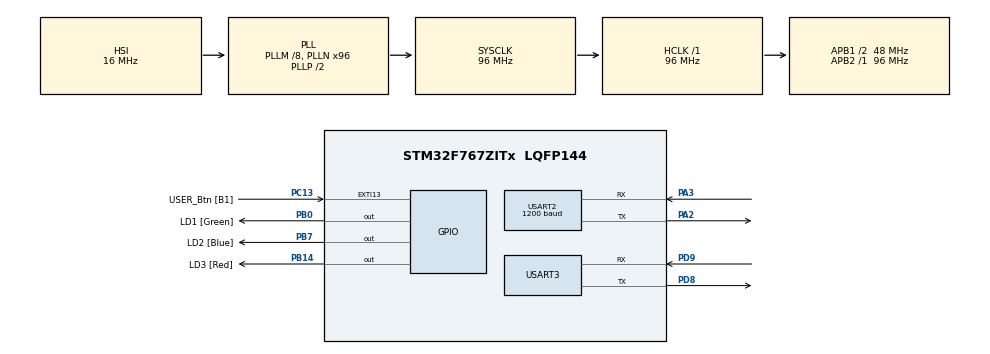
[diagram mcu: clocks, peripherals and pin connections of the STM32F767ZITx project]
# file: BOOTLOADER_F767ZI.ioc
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Mcu.Family=STM32F7
Mcu.Name=STM32F767ZITx
Mcu.Package=LQFP144
NVIC.PriorityGroup=NVIC_PRIORITYGROUP_4
NVIC.USART2_IRQn=true\:0\:0\:false\:false\:true\:true\:true\:true
NVIC.USART3_IRQn=true\:0\:0\:false\:false\:true\:true\:true\:true
PA2.Mode=Asynchronous
PA2.Signal=USART2_TX
PA3.Mode=Asynchronous
PA3.Signal=USART2_RX
PB0.GPIO_Label=LD1 [Green]
PB0.Signal=GPIO_Output
PB14.GPIO_Label=LD3 [Red]
PB14.Signal=GPIO_Output
PB7.GPIO_Label=LD2 [Blue]
PB7.Signal=GPIO_Output
PC13.GPIO_Label=USER_Btn [B1]
PC13.Signal=GPXTI13
PD8.Mode=Asynchronous
PD8.Signal=USART3_TX
PD9.Mode=Asynchronous
PD9.Signal=USART3_RX
ProjectManager.HeapSize=0x200
ProjectManager.StackSize=0x400
ProjectManager.TargetToolchain=STM32CubeIDE
RCC.48MHZClocksFreq_Value=24000000
RCC.AHBFreq_Value=96000000
RCC.APB1CLKDivider=RCC_HCLK_DIV2
RCC.APB1Freq_Value=48000000
RCC.APB1TimFreq_Value=96000000
RCC.APB2Freq_Value=96000000
RCC.APB2TimFreq_Value=96000000
RCC.CortexFreq_Value=96000000
RCC.HCLKFreq_Value=96000000
RCC.HSE_VALUE=8000000
RCC.HSI_VALUE=16000000
RCC.LSE_VALUE=32768
RCC.PLLM=8
RCC.PLLMUL=RCC_PLL_MUL9
RCC.PLLN=96
RCC.PLLQ=4
RCC.PRESCALERUSB=RCC_USBCLKSOURCE_PLL_DIV1_5
RCC.SYSCLKFreq_VALUE=96000000
RCC.SYSCLKSource=RCC_SYSCLKSOURCE_PLLCLK
RCC.SYSCLKSourceVirtual=RCC_SYSCLKSOURCE_PLLCLK
RCC.USBFreq_Value=48000000
RCC.VCOOutputFreq_Value=192000000
USART2.BaudRate=1200
USART2.VirtualMode-Asynchronous=VM_ASYNC
USART3.VirtualMode-Asynchronous=VM_ASYNC
board=NUCLEO-F767ZI

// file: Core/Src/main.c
/* USER CODE BEGIN Header */
/**
  ******************************************************************************
  * @file           : main.c
  * @brief          : Main program body
  ******************************************************************************
  * @attention
  *
  * Copyright (c) 2025 STMicroelectronics.
  * All rights reserved.
  *
  * This software is licensed under terms that can be found in the LICENSE file
  * in the root directory of this software component.
  * If no LICENSE file comes with this software, it is provided AS-IS.
  *
  ******************************************************************************
  */
/* USER CODE END Header */
#include "main.h"

/* USER CODE BEGIN Includes */
#include <string.h>

/* USER CODE END Includes */

UART_HandleTypeDef huart2;
UART_HandleTypeDef huart3;

/* USER CODE BEGIN PV */

uint8_t rx_byte;
char rx_buffer[128];
uint8_t rx_index = 0;

uint32_t Address = 0x080E0000;
uint32_t LED_State_Address = 0x080E0100;

volatile uint8_t rx_line_ready = 0;

char stored_sen[256];

/* USER CODE END PV */

void SystemClock_Config(void);
static void MX_GPIO_Init(void);
static void MX_USART2_UART_Init(void);
static void MX_USART3_UART_Init(void);
/* USER CODE BEGIN PFP */

int write(char *ptr);
static void goto_application(void);

void erase_flash(void);
void program_flash(uint8_t data, uint32_t address);
uint8_t read_flash(uint32_t address);

static void reset_bootloader(void);

/* USER CODE END PFP */

int main(void)
{

  /* MCU Configuration--------------------------------------------------------*/

  /* Reset of all peripherals, Initializes the Flash interface and the Systick. */
  HAL_Init();

  /* Configure the system clock */
  SystemClock_Config();

  /* Initialize all configured peripherals */
  MX_GPIO_Init();
  MX_USART2_UART_Init();
  MX_USART3_UART_Init();
  /* USER CODE BEGIN 2 */

  write("\nStarting bootloader");

  HAL_GPIO_WritePin(GPIOB, GPIO_PIN_0, GPIO_PIN_SET);

  HAL_UART_Receive_IT(&huart2, &rx_byte, 1);

  write("\nWaiting for data (5s)...\r\n");
  uint32_t t0 = HAL_GetTick();

  /* USER CODE END 2 */

  /* Infinite loop */
  /* USER CODE BEGIN WHILE */
  while (1)
  {

	if ((HAL_GetTick() - t0) < 5000 && !rx_line_ready) {
	  HAL_GPIO_WritePin(GPIOB, GPIO_PIN_14, GPIO_PIN_SET);

	}

	if((HAL_GetTick() - t0) >= 5000 && !rx_line_ready){
	  write("No message received!\r\n");
	  HAL_GPIO_WritePin(GPIOB, GPIO_PIN_14, GPIO_PIN_RESET);
	  HAL_GPIO_WritePin(GPIOB, GPIO_PIN_0, GPIO_PIN_RESET);
	  goto_application();

	}

	if((HAL_GetTick() - t0) < 5000 && rx_line_ready) {

	  HAL_GPIO_WritePin(GPIOB, GPIO_PIN_14, GPIO_PIN_RESET);
	  HAL_GPIO_WritePin(GPIOB, GPIO_PIN_0, GPIO_PIN_SET);
	  write("Data received. Writing to flash...\r\n");
	  HAL_Delay(1000);

	  uint8_t count = read_flash(LED_State_Address);
	  erase_flash();

	  program_flash(count, LED_State_Address);

	  for (size_t i=0; i<strlen(rx_buffer); i++) {
		  program_flash((uint8_t)rx_buffer[i], Address++);
	  }
	  program_flash(0x00, Address);

	  write("Flash write done.\r\n");

	  reset_bootloader();

	}

    /* USER CODE END WHILE */

  }
}

void SystemClock_Config(void)
{
  RCC_OscInitTypeDef RCC_OscInitStruct = {0};
  RCC_ClkInitTypeDef RCC_ClkInitStruct = {0};

  /** Configure the main internal regulator output voltage
  */
  __HAL_RCC_PWR_CLK_ENABLE();
  __HAL_PWR_VOLTAGESCALING_CONFIG(PWR_REGULATOR_VOLTAGE_SCALE3);

  /** Initializes the RCC Oscillators according to the specified parameters
  * in the RCC_OscInitTypeDef structure.
  */
  RCC_OscInitStruct.OscillatorType = RCC_OSCILLATORTYPE_HSI;
  RCC_OscInitStruct.HSIState = RCC_HSI_ON;
  RCC_OscInitStruct.HSICalibrationValue = RCC_HSICALIBRATION_DEFAULT;
  RCC_OscInitStruct.PLL.PLLState = RCC_PLL_ON;
  RCC_OscInitStruct.PLL.PLLSource = RCC_PLLSOURCE_HSI;
  RCC_OscInitStruct.PLL.PLLM = 8;
  RCC_OscInitStruct.PLL.PLLN = 96;
  RCC_OscInitStruct.PLL.PLLP = RCC_PLLP_DIV2;
  RCC_OscInitStruct.PLL.PLLQ = 4;
  RCC_OscInitStruct.PLL.PLLR = 2;
  if (HAL_RCC_OscConfig(&RCC_OscInitStruct) != HAL_OK)
  {
    Error_Handler();
  }

  /** Activate the Over-Drive mode
  */
  if (HAL_PWREx_EnableOverDrive() != HAL_OK)
  {
    Error_Handler();
  }

  /** Initializes the CPU, AHB and APB buses clocks
  */
  RCC_ClkInitStruct.ClockType = RCC_CLOCKTYPE_HCLK|RCC_CLOCKTYPE_SYSCLK
                              |RCC_CLOCKTYPE_PCLK1|RCC_CLOCKTYPE_PCLK2;
  RCC_ClkInitStruct.SYSCLKSource = RCC_SYSCLKSOURCE_PLLCLK;
  RCC_ClkInitStruct.AHBCLKDivider = RCC_SYSCLK_DIV1;
  RCC_ClkInitStruct.APB1CLKDivider = RCC_HCLK_DIV2;
  RCC_ClkInitStruct.APB2CLKDivider = RCC_HCLK_DIV1;

  if (HAL_RCC_ClockConfig(&RCC_ClkInitStruct, FLASH_LATENCY_3) != HAL_OK)
  {
    Error_Handler();
  }
}

static void MX_USART2_UART_Init(void)
{

  huart2.Instance = USART2;
  huart2.Init.BaudRate = 1200;
  huart2.Init.WordLength = UART_WORDLENGTH_8B;
  huart2.Init.StopBits = UART_STOPBITS_1;
  huart2.Init.Parity = UART_PARITY_NONE;
  huart2.Init.Mode = UART_MODE_TX_RX;
  huart2.Init.HwFlowCtl = UART_HWCONTROL_NONE;
  huart2.Init.OverSampling = UART_OVERSAMPLING_16;
  huart2.Init.OneBitSampling = UART_ONE_BIT_SAMPLE_DISABLE;
  huart2.AdvancedInit.AdvFeatureInit = UART_ADVFEATURE_NO_INIT;
  if (HAL_UART_Init(&huart2) != HAL_OK)
  {
    Error_Handler();
  }

}

static void MX_USART3_UART_Init(void)
{

  huart3.Instance = USART3;
  huart3.Init.BaudRate = 115200;
  huart3.Init.WordLength = UART_WORDLENGTH_8B;
  huart3.Init.StopBits = UART_STOPBITS_1;
  huart3.Init.Parity = UART_PARITY_NONE;
  huart3.Init.Mode = UART_MODE_TX_RX;
  huart3.Init.HwFlowCtl = UART_HWCONTROL_NONE;
  huart3.Init.OverSampling = UART_OVERSAMPLING_16;
  huart3.Init.OneBitSampling = UART_ONE_BIT_SAMPLE_DISABLE;
  huart3.AdvancedInit.AdvFeatureInit = UART_ADVFEATURE_NO_INIT;
  if (HAL_UART_Init(&huart3) != HAL_OK)
  {
    Error_Handler();
  }

}

static void MX_GPIO_Init(void)
{
  GPIO_InitTypeDef GPIO_InitStruct = {0};

  /* GPIO Ports Clock Enable */
  __HAL_RCC_GPIOC_CLK_ENABLE();
  __HAL_RCC_GPIOA_CLK_ENABLE();
  __HAL_RCC_GPIOB_CLK_ENABLE();
  __HAL_RCC_GPIOD_CLK_ENABLE();

  /*Configure GPIO pin Output Level */
  HAL_GPIO_WritePin(GPIOB, LD1_Pin|LD3_Pin|LD2_Pin, GPIO_PIN_RESET);

  /*Configure GPIO pin : USER_Btn_Pin */
  GPIO_InitStruct.Pin = USER_Btn_Pin;
  GPIO_InitStruct.Mode = GPIO_MODE_IT_RISING;
  GPIO_InitStruct.Pull = GPIO_NOPULL;
  HAL_GPIO_Init(USER_Btn_GPIO_Port, &GPIO_InitStruct);

  /*Configure GPIO pins : LD1_Pin LD3_Pin LD2_Pin */
  GPIO_InitStruct.Pin = LD1_Pin|LD3_Pin|LD2_Pin;
  GPIO_InitStruct.Mode = GPIO_MODE_OUTPUT_PP;
  GPIO_InitStruct.Pull = GPIO_NOPULL;
  GPIO_InitStruct.Speed = GPIO_SPEED_FREQ_LOW;
  HAL_GPIO_Init(GPIOB, &GPIO_InitStruct);

}

/* USER CODE BEGIN 4 */

int write(char *ptr){
	HAL_UART_Transmit(&huart3, (uint8_t*)ptr, strlen(ptr), HAL_MAX_DELAY);
	return strlen(ptr);
}

int write_to_python(char *ptr){
	HAL_UART_Transmit(&huart2, (uint8_t*)ptr, strlen(ptr), HAL_MAX_DELAY);
	return strlen(ptr);
}

static void reset_bootloader(void)
{
	write("\nJumping to Bootloader");
	NVIC_SystemReset();
}

static void goto_application(void)
{
	write("\nJumping to application");
	void (*app_reset_handler) (void) = (void*) (*(volatile uint32_t *) (0x8100000 + 4));
	app_reset_handler();
}

void erase_flash(void){
	FLASH_EraseInitTypeDef ERASE_STRUCT;
	ERASE_STRUCT.TypeErase = FLASH_TYPEERASE_SECTORS;
	ERASE_STRUCT.Banks = FLASH_BANK_1;
	ERASE_STRUCT.Sector = FLASH_SECTOR_11;
	ERASE_STRUCT.NbSectors = 1;
	ERASE_STRUCT.VoltageRange = FLASH_VOLTAGE_RANGE_3;

	uint32_t Sector_error;

	HAL_FLASH_Unlock();
	HAL_FLASHEx_Erase(&ERASE_STRUCT, &Sector_error);
	HAL_FLASH_Lock();

}

void program_flash(uint8_t data, uint32_t address) {
    HAL_FLASH_Unlock();
    HAL_FLASH_Program(FLASH_TYPEPROGRAM_BYTE, address, data);
    HAL_FLASH_Lock();
}

uint8_t read_flash(uint32_t address){

	uint8_t data = (uint8_t) (* ((volatile uint32_t*) address));

	if((data == 0) || (data == 1)){
		return data;
	}
	else{
		return 0;
	}

}

void HAL_UART_RxCpltCallback(UART_HandleTypeDef *huart)
{
    if (huart->Instance == USART2)
    {
        if (rx_byte == '\n') {
            rx_buffer[rx_index] = '\0';
            rx_line_ready = 1;
            rx_index = 0;
        } else {
            if (rx_index < sizeof(rx_buffer)-1) {
                rx_buffer[rx_index++] = rx_byte;
            }
        }
        HAL_UART_Receive_IT(&huart2, &rx_byte, 1);
    }
}

/* USER CODE END 4 */

void Error_Handler(void)
{
  __disable_irq();
  while (1)
  {
  }
}
